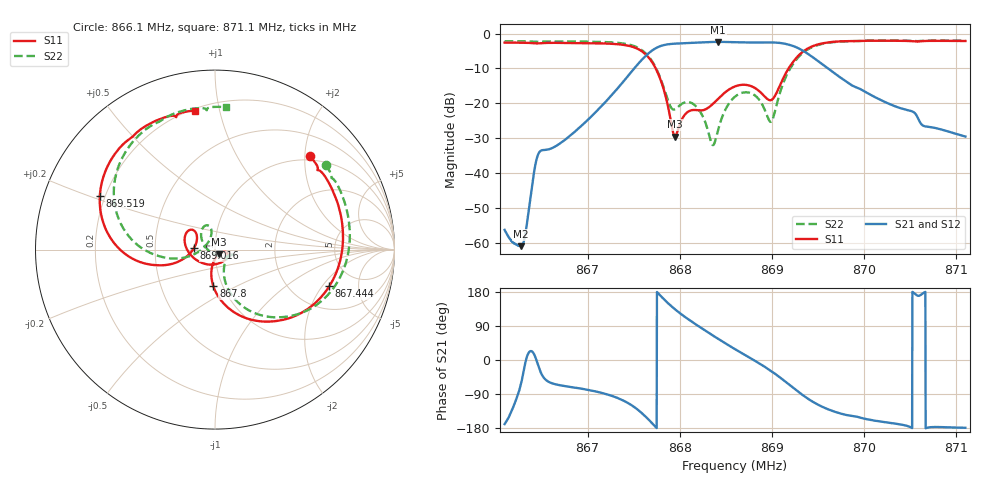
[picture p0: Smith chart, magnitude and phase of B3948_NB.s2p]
! Matrix data file written by TouchstoneData, EPCOS AG
! FILENAME: "B3948_NB.s2p"
! COMMENT: "(B3948_NB.s2p)"
! INFO: nport=2, nfreq=1601
! DATE: "Mon Aug 12 15:21:25 2013"
! USER: "Lynn Zhu"
! port | pin | signal
!  1  |  2  |  IN
!  2  |  4  |  OUT
# MHZ S RI R 50
! freq  reS11 imS11  reS21 imS21  reS12 imS12  reS22 imS22
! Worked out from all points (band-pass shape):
!   1601 points, 866.1 MHz to 871.1 MHz, reference 50 ohm
!   highest |S21| = -2.39 dB at 868.419 MHz (marker M1); lowest = -60.9 dB at 866.275 MHz (marker M2)
!   |S21| within 3 dB of the highest: 867.6743 MHz to 869.3663 MHz (1.692 MHz wide, 0.195 % of centre)
!   lowest |S11| = -29.5 dB at 867.947 MHz (marker M3), VSWR 1.07, Z = 52 - j2.73 ohm
!   |S11| at or under -10 dB: 867.7397 MHz to 869.1814 MHz (1.442 MHz wide, 0.166 % of centre)
!   |S22| runs from -32.0 to -2.0 dB; largest |S21 - S12| = 0.0016
!   S11 on the Smith chart (normalised r, x): 866.1 MHz: 0.92, +2.12; 867.444 MHz: 3.18, -2.35; 867.8 MHz: 0.90, -0.38; 869.016 MHz: 0.79, +0.01; 869.519 MHz: 0.18, +0.22; 871.1 MHz: 0.21, +0.85
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866.1  0.5304 0.5192  -0.00152 -0.000289  -0.0015 -0.000287  0.6162 0.4713
866.275  0.5575 0.4861  0.000366 -0.000823  0.000372 -0.000813  0.6377 0.4388
866.3219  0.5647 0.4751  0.00125 -0.000224  0.00125 -0.000205  0.6432 0.4284
866.4219  0.5724 0.4465  0.0105 0.00266  0.0106 0.00272  0.6492 0.4027
866.4719  0.572 0.443  0.0184 -0.00668  0.0184 -0.00671  0.6504 0.3983
866.9344  0.6746 0.2836  0.0117 -0.0463  0.0118 -0.0464  0.7281 0.2434
867.4438  0.6364 -0.2047  -0.103 -0.2289  -0.1036 -0.2298  0.6688 -0.2019
867.6219  0.3253 -0.3996  -0.393 -0.2496  -0.3942 -0.2499  0.379 -0.3758
867.7687  0.0179 -0.2606  -0.6416 0.051  -0.643 0.0514  0.0924 -0.2527
867.8  -0.00919 -0.2037  -0.6514 0.1447  -0.6527 0.1453  0.0648 -0.2016
867.9469  0.0208 -0.0262  -0.4995 0.5132  -0.5004 0.5142  0.0735 -0.0364
868.1656  0.059 -0.0546  -0.0701 0.7356  -0.0702 0.7368  0.0878 -0.0329
868.3563  -0.0563 -0.0791  0.3172 0.6879  0.3178 0.6891  -0.0102 -0.0233
868.4188  -0.101 -0.0595  0.4295 0.626  0.4304 0.6272  -0.0425 0.00224
868.6  -0.169 0.0447  0.66 0.3594  0.6614 0.36  -0.0764 0.0983
868.7906  -0.1327 0.1111  0.7431 0.0206  0.7445 0.0207  -0.0337 0.1323
869.0156  -0.1177 0.00736  0.6233 -0.4066  0.6245 -0.4072  -0.0621 0.0113
869.1875  -0.3136 -0.0875  0.2937 -0.6241  0.2943 -0.6252  -0.2943 -0.0412
869.4344  -0.6291 0.1719  -0.1504 -0.4426  -0.1506 -0.4434  -0.5633 0.2934
869.5187  -0.6416 0.3014  -0.1944 -0.3354  -0.1947 -0.336  -0.5492 0.4267
870.2687  -0.31 0.726  -0.0957 -0.0247  -0.0959 -0.0248  -0.1393 0.7825
871.1  -0.1096 0.7747  -0.0334 -0.000647  -0.0335 -0.000671  0.0619 0.7924
